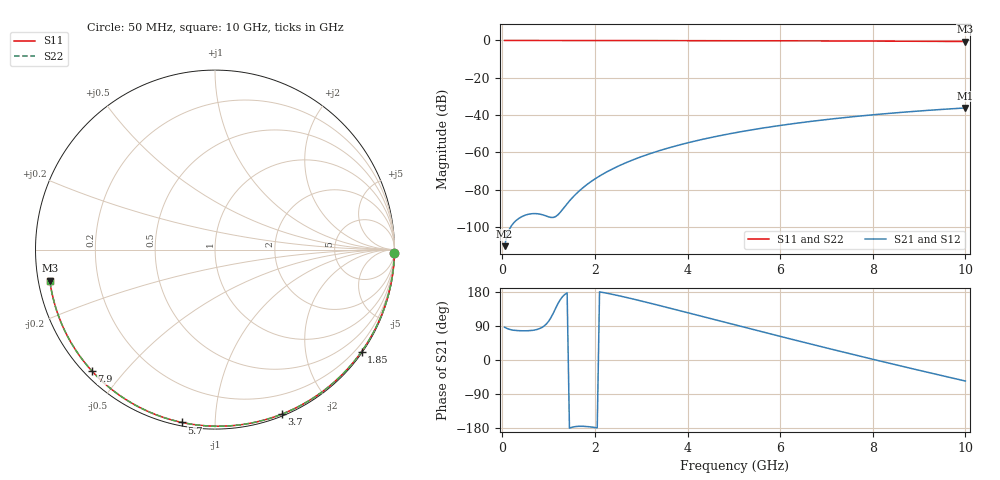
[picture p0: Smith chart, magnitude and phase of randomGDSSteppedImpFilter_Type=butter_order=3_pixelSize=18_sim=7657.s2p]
! freq	dB(S11)	phase(S11)	dB(S12)	phase(S12)
!  dB(S21)	phase(S21)	dB(S22)	phase(S22)
!S-par simulation data
#  GHz  S  DB  R 50
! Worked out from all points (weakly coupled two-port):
!   200 points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, 50 MHz to 10 GHz, reference 50 ohm
!   highest |S21| = -36.18 dB at 10 GHz (marker M1); lowest = -110.3 dB at 50 MHz (marker M2)
!   lowest |S11| = -0.6 dB at 10 GHz (marker M3), VSWR 30.36, Z = 1.66 - j4.64 ohm
!   |S11| at or under -10 dB: nowhere
!   |S22| runs from -0.6 to 0.0 dB; largest |S21 - S12| = 0
!   S11 on the Smith chart (normalised r, x): 50 MHz: open; 1.85 GHz: 0.03, -3.19; 3.7 GHz: 0.02, -1.49; 5.7 GHz: 0.02, -0.83; 7.9 GHz: 0.02, -0.41; 10 GHz: 0.03, -0.09
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0.05  -0.00 -1.0  -110.28 86.4  -110.28 86.4  -0.00 -1.0
0.45  -0.01 -8.6  -94.12 77.0  -94.12 77.0  -0.01 -8.6
0.85  -0.02 -16.2  -93.33 85.4  -93.33 85.4  -0.02 -16.2
1.65  -0.04 -31.1  -80.92 -175.0  -80.92 -175.0  -0.04 -31.1
1.7  -0.04 -32.1  -79.82 -174.8  -79.82 -174.8  -0.04 -32.1
1.75  -0.04 -33.0  -78.77 -175.0  -78.77 -175.0  -0.04 -33.0
1.85  -0.04 -34.8  -76.83 -175.8  -76.83 -175.8  -0.04 -34.8
2.15  -0.05 -40.3  -71.95 178.8  -71.95 178.8  -0.05 -40.3
2.5  -0.06 -46.7  -67.43 170.1  -67.43 170.1  -0.06 -46.7
2.9  -0.07 -53.8  -63.25 158.7  -63.25 158.7  -0.07 -53.8
3.4  -0.08 -62.6  -59.01 143.6  -59.01 143.6  -0.08 -62.6
3.7  -0.09 -67.8  -56.84 134.3  -56.84 134.3  -0.09 -67.8
4.35  -0.11 -78.8  -52.86 113.9  -52.86 113.9  -0.11 -78.8
5.05  -0.14 -90.4  -49.37 91.9  -49.37 91.9  -0.14 -90.4
5.7  -0.17 -100.9  -46.67 71.6  -46.67 71.6  -0.17 -100.9
6.2  -0.20 -108.8  -44.88 56.2  -44.88 56.2  -0.20 -108.8
6.7  -0.23 -116.7  -43.28 40.9  -43.28 40.9  -0.23 -116.7
7.3  -0.27 -126.0  -41.58 22.8  -41.58 22.8  -0.27 -126.0
7.9  -0.33 -135.4  -40.09 4.9  -40.09 4.9  -0.33 -135.4
8.35  -0.37 -142.5  -39.09 -8.3  -39.09 -8.3  -0.37 -142.5
9.2  -0.47 -156.1  -37.46 -32.9  -37.46 -32.9  -0.47 -156.1
10  -0.57 -169.4  -36.18 -55.5  -36.18 -55.5  -0.57 -169.4
